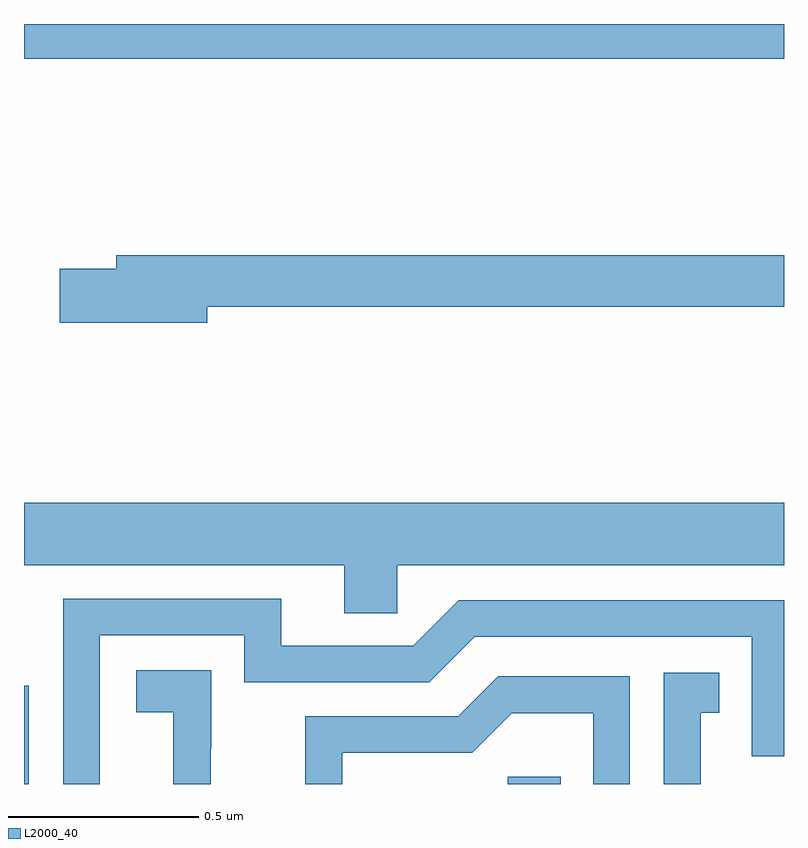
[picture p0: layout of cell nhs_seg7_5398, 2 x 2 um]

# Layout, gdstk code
import gdstk
lib = gdstk.Library(unit=1e-6, precision=1e-09)
def R(c, l, rs):  # rectangles x0, y0, x1, y1
    for r in rs: c.add(gdstk.rectangle(r[:2], r[2:], *l))
def P(c, l, *ps):  # polygons
    for p in ps: c.add(gdstk.Polygon(p, *l))
L2000_40 = (2000, 40)

nhs_seg7_5398 = lib.new_cell('nhs_seg7_5398')
R(nhs_seg7_5398, L2000_40, [(185,1040,185.013,1040.259), (186.273,1040,186.413,1040.019), (185,1041.908,187,1042)])
P(nhs_seg7_5398, L2000_40, [(185.482,1041.256),(187,1041.256),(187,1041.392),(185.243,1041.392),(185.243,1041.356),(185.094,1041.356),(185.094,1041.214),(185.482,1041.214)],
  [(185.982,1040.576),(187,1040.576),(187,1040.74),(185,1040.74),(185,1040.576),(185.843,1040.576),(185.843,1040.449),(185.982,1040.449)],
  [(185.199,1040.391),(185.58,1040.391),(185.58,1040.268),(186.066,1040.268),(186.186,1040.388),(186.915,1040.388),(186.915,1040.073),(187,1040.073),(187,1040.484),(186.144,1040.484),(186.024,1040.364),(185.677,1040.364),(185.677,1040.487),(185.103,1040.487),(185.103,1040),(185.199,1040)],
  [(185.492,1040.093),(185.493,1040.093),(185.493,1040.299),(185.295,1040.299),(185.295,1040.189),(185.393,1040.189),(185.393,1040),(185.492,1040)],
  [(186.781,1040.187),(186.83,1040.187),(186.83,1040.293),(186.684,1040.293),(186.684,1040),(186.781,1040)],
  [(185.838,1040.082),(186.18,1040.082),(186.284,1040.186),(186.498,1040.186),(186.498,1040),(186.594,1040),(186.594,1040.283),(186.248,1040.283),(186.143,1040.178),(185.74,1040.178),(185.74,1040),(185.838,1040)])

lib.write_gds('nhs_seg7_5398.gds')
